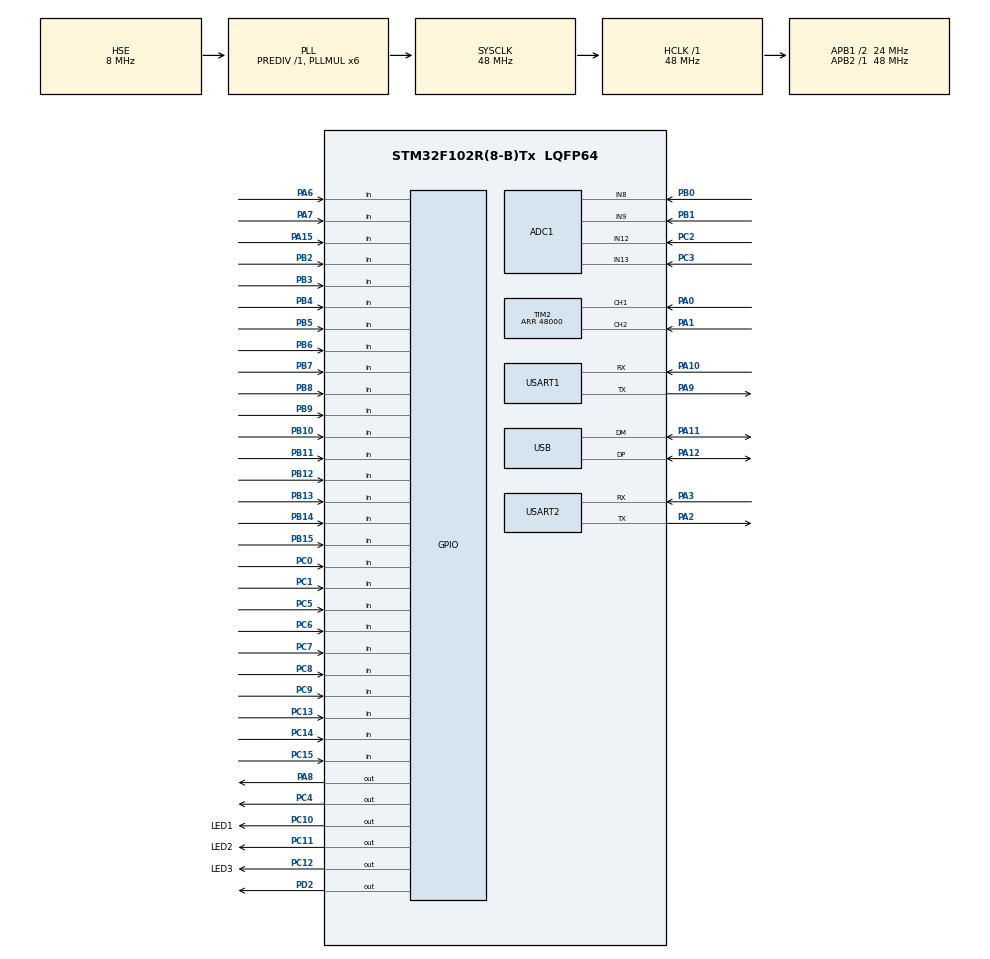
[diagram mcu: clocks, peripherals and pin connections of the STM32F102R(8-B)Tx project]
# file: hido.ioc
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ADC1.Channel-0\#ChannelRegularConversion=ADC_CHANNEL_TEMPSENSOR
ADC1.Channel-1\#ChannelInjectedConversion=ADC_CHANNEL_8
ADC1.Channel-2\#ChannelInjectedConversion=ADC_CHANNEL_9
ADC1.Channel-3\#ChannelInjectedConversion=ADC_CHANNEL_12
ADC1.Channel-4\#ChannelInjectedConversion=ADC_CHANNEL_13
ADC1.EnableInjectedConversion=ENABLE
ADC1.InjNumberOfConversion=4
ADC1.InjectedOffset-1\#ChannelInjectedConversion=0
ADC1.InjectedOffset-2\#ChannelInjectedConversion=0
ADC1.InjectedOffset-3\#ChannelInjectedConversion=0
ADC1.InjectedOffset-4\#ChannelInjectedConversion=0
ADC1.NbrOfConversionFlag=1
ADC1.Rank-0\#ChannelRegularConversion=1
ADC1.Rank-1\#ChannelInjectedConversion=1
ADC1.Rank-2\#ChannelInjectedConversion=2
ADC1.Rank-3\#ChannelInjectedConversion=3
ADC1.Rank-4\#ChannelInjectedConversion=4
ADC1.SamplingTime-0\#ChannelRegularConversion=ADC_SAMPLETIME_239CYCLES_5
ADC1.SamplingTime-1\#ChannelInjectedConversion=ADC_SAMPLETIME_1CYCLE_5
ADC1.SamplingTime-2\#ChannelInjectedConversion=ADC_SAMPLETIME_1CYCLE_5
ADC1.SamplingTime-3\#ChannelInjectedConversion=ADC_SAMPLETIME_1CYCLE_5
ADC1.SamplingTime-4\#ChannelInjectedConversion=ADC_SAMPLETIME_1CYCLE_5
ADC1.master=1
Mcu.Family=STM32F1
Mcu.Name=STM32F102R(8-B)Tx
Mcu.Package=LQFP64
NVIC.ADC1_IRQn=true\:0\:0\:false\:false\:true\:true\:true
NVIC.PriorityGroup=NVIC_PRIORITYGROUP_4
NVIC.USB_LP_IRQn=true\:0\:0\:false\:false\:true\:false\:true
PA0-WKUP.Signal=S_TIM2_CH1_ETR
PA1.Signal=S_TIM2_CH2
PA10.Mode=Asynchronous
PA10.Signal=USART1_RX
PA11.Mode=Device
PA11.Signal=USB_DM
PA12.Mode=Device
PA12.Signal=USB_DP
PA13.Mode=Serial_Wire
PA13.Signal=SYS_JTMS-SWDIO
PA14.Mode=Serial_Wire
PA14.Signal=SYS_JTCK-SWCLK
PA15.Signal=GPIO_Input
PA2.Mode=Asynchronous
PA2.Signal=USART2_TX
PA3.Mode=Asynchronous
PA3.Signal=USART2_RX
PA6.Signal=GPIO_Input
PA7.Signal=GPIO_Input
PA8.Signal=GPIO_Output
PA9.Mode=Asynchronous
PA9.Signal=USART1_TX
PB0.Signal=ADCx_IN8
PB1.Signal=ADCx_IN9
PB10.Signal=GPIO_Input
PB11.Signal=GPIO_Input
PB12.Signal=GPIO_Input
PB13.Signal=GPIO_Input
PB14.Signal=GPIO_Input
PB15.Signal=GPIO_Input
PB2.Signal=GPIO_Input
PB3.Signal=GPIO_Input
PB4.Signal=GPIO_Input
PB5.Signal=GPIO_Input
PB6.Signal=GPIO_Input
PB7.Signal=GPIO_Input
PB8.Signal=GPIO_Input
PB9.Signal=GPIO_Input
PC0.Signal=GPIO_Input
PC1.Signal=GPIO_Input
PC10.GPIO_Label=LED1
PC10.Signal=GPIO_Output
PC11.GPIO_Label=LED2
PC11.Signal=GPIO_Output
PC12.GPIO_Label=LED3
PC12.Signal=GPIO_Output
PC13-TAMPER-RTC.Signal=GPIO_Input
PC14-OSC32_IN.Signal=GPIO_Input
PC15-OSC32_OUT.Signal=GPIO_Input
PC2.Signal=ADCx_IN12
PC3.Signal=ADCx_IN13
PC4.Signal=GPIO_Output
PC5.Signal=GPIO_Input
PC6.Signal=GPIO_Input
PC7.Signal=GPIO_Input
PC8.Signal=GPIO_Input
PC9.Signal=GPIO_Input
PD0-OSC_IN.Mode=HSE-External-Oscillator
PD0-OSC_IN.Signal=RCC_OSC_IN
PD1-OSC_OUT.Mode=HSE-External-Oscillator
PD1-OSC_OUT.Signal=RCC_OSC_OUT
PD2.Signal=GPIO_Output
ProjectManager.HeapSize=0x200
ProjectManager.StackSize=0x400
ProjectManager.TargetToolchain=STM32CubeIDE
RCC.ADCPresc=RCC_ADCPCLK2_DIV4
RCC.AHBFreq_Value=48000000
RCC.APB1CLKDivider=RCC_HCLK_DIV2
RCC.APB1Freq_Value=24000000
RCC.APB1TimFreq_Value=48000000
RCC.APB2Freq_Value=48000000
RCC.HCLKFreq_Value=48000000
RCC.PLLMUL=RCC_PLL_MUL6
RCC.SYSCLKFreq_VALUE=48000000
RCC.SYSCLKSource=RCC_SYSCLKSOURCE_PLLCLK
RCC.USBFreq_Value=48000000
SH.ADCx_IN12.0=ADC1_IN12,IN12
SH.ADCx_IN13.0=ADC1_IN13,IN13
SH.ADCx_IN8.0=ADC1_IN8,IN8
SH.ADCx_IN9.0=ADC1_IN9,IN9
SH.S_TIM2_CH1_ETR.0=TIM2_CH1,Input_Capture1_from_TI1
SH.S_TIM2_CH2.0=TIM2_CH2,Input_Capture2_from_TI2
TIM2.Channel-Input_Capture1_from_TI1=TIM_CHANNEL_1
TIM2.Channel-Input_Capture2_from_TI2=TIM_CHANNEL_2
TIM2.Period=48000
TIM2.TIM_MasterOutputTrigger=TIM_TRGO_UPDATE
USART1.VirtualMode=VM_ASYNC
USART2.VirtualMode=VM_ASYNC
USB_DEVICE.CLASS_NAME_FS=HID
USB_DEVICE.LANGID_STRING=1040
USB_DEVICE.USBD_MAX_NUM_INTERFACES=4
USB_DEVICE.VirtualMode=Hid
USB_DEVICE.VirtualModeFS=Hid_FS
VP_ADC1_TempSens_Input.Mode=IN-TempSens
VP_TIM2_VS_ClockSourceINT.Mode=Internal
VP_USB_DEVICE_VS_USB_DEVICE_HID_FS.Mode=HID_FS
board=custom

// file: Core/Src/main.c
/* USER CODE BEGIN Header */
/**
  ******************************************************************************
  * @file           : main.c
  * @brief          : Main program body
  ******************************************************************************
  * @attention
  *
  * <h2><center>&copy; Copyright (c) 2020 STMicroelectronics.
  * All rights reserved.</center></h2>
  *
  * This software component is licensed by ST under BSD 3-Clause license,
  * the "License"; You may not use this file except in compliance with the
  * License. You may obtain a copy of the License at:
  *                        opensource.org/licenses/BSD-3-Clause
  *
  ******************************************************************************
  */
/* USER CODE END Header */

#include "main.h"
#include "adc.h"
#include "tim.h"
#include "usart.h"
#include "usb_device.h"
#include "gpio.h"

/* USER CODE BEGIN Includes */
#include "usbd_core.h"
#include "usbd_desc.h"
#include "usbd_hid.h"
/* USER CODE END Includes */

/* USER CODE BEGIN PD */
#define CURSOR_STEP     5
/* USER CODE END PD */

/* USER CODE BEGIN PV */
extern USBD_HandleTypeDef hUsbDeviceFS;
uint8_t HID_Buffer[4];
/* USER CODE END PV */

void SystemClock_Config(void);
/* USER CODE BEGIN PFP */
#define CLICK_REPORT_SIZE 1
uint8_t click_report[CLICK_REPORT_SIZE] = {0};
/* USER CODE END PFP */

int main(void)
{

  /* MCU Configuration--------------------------------------------------------*/

  /* Reset of all peripherals, Initializes the Flash interface and the Systick. */
  HAL_Init();

  /* Configure the system clock */
  SystemClock_Config();

  /* Initialize all configured peripherals */
  MX_GPIO_Init();
  MX_USB_DEVICE_Init();
  MX_ADC1_Init();
  MX_TIM2_Init();
  MX_USART1_UART_Init();
  MX_USART2_UART_Init();
  /* USER CODE BEGIN 2 */
  //USBD_RegisterClass(&USBD_Device, USBD_HID_CLASS);
 //USBD_Start(&USBD_Device);
  /* USER CODE END 2 */

  /* Infinite loop */
  /* USER CODE BEGIN WHILE */
  while (1)
  {
	//  HAL_Delay(100);
	//  HAL_GPIO_TogglePin(GPIOC, LED1_Pin);
	//HAL_Delay(500);
	//GetPointerData(HID_Buffer);
	//USBD_HID_SendReport(&USBD_Device, HID_Buffer, 4);
  click_report[0] = 1; // send button press
  USBD_HID_SendReport(&hUsbDeviceFS, click_report, CLICK_REPORT_SIZE);
  HAL_Delay(50);

  click_report[0] = 0; // send button release
  USBD_HID_SendReport(&hUsbDeviceFS, click_report, CLICK_REPORT_SIZE);

  HAL_Delay(200);

    /* USER CODE END WHILE */

  }
}

void SystemClock_Config(void)
{
  RCC_OscInitTypeDef RCC_OscInitStruct = {0};
  RCC_ClkInitTypeDef RCC_ClkInitStruct = {0};
  RCC_PeriphCLKInitTypeDef PeriphClkInit = {0};

  /** Initializes the CPU, AHB and APB busses clocks
  */
  RCC_OscInitStruct.OscillatorType = RCC_OSCILLATORTYPE_HSE;
  RCC_OscInitStruct.HSEState = RCC_HSE_ON;
  RCC_OscInitStruct.HSEPredivValue = RCC_HSE_PREDIV_DIV1;
  RCC_OscInitStruct.HSIState = RCC_HSI_ON;
  RCC_OscInitStruct.PLL.PLLState = RCC_PLL_ON;
  RCC_OscInitStruct.PLL.PLLSource = RCC_PLLSOURCE_HSE;
  RCC_OscInitStruct.PLL.PLLMUL = RCC_PLL_MUL6;
  if (HAL_RCC_OscConfig(&RCC_OscInitStruct) != HAL_OK)
  {
    Error_Handler();
  }
  /** Initializes the CPU, AHB and APB busses clocks
  */
  RCC_ClkInitStruct.ClockType = RCC_CLOCKTYPE_HCLK|RCC_CLOCKTYPE_SYSCLK
                              |RCC_CLOCKTYPE_PCLK1|RCC_CLOCKTYPE_PCLK2;
  RCC_ClkInitStruct.SYSCLKSource = RCC_SYSCLKSOURCE_PLLCLK;
  RCC_ClkInitStruct.AHBCLKDivider = RCC_SYSCLK_DIV1;
  RCC_ClkInitStruct.APB1CLKDivider = RCC_HCLK_DIV2;
  RCC_ClkInitStruct.APB2CLKDivider = RCC_HCLK_DIV1;

  if (HAL_RCC_ClockConfig(&RCC_ClkInitStruct, FLASH_LATENCY_1) != HAL_OK)
  {
    Error_Handler();
  }
  PeriphClkInit.PeriphClockSelection = RCC_PERIPHCLK_ADC|RCC_PERIPHCLK_USB;
  PeriphClkInit.AdcClockSelection = RCC_ADCPCLK2_DIV4;
  PeriphClkInit.UsbClockSelection = RCC_USBCLKSOURCE_PLL;
  if (HAL_RCCEx_PeriphCLKConfig(&PeriphClkInit) != HAL_OK)
  {
    Error_Handler();
  }
}

/* USER CODE BEGIN 4 */
void GetPointerData(uint8_t *pbuf)
{
  static int8_t cnt = 0;
  int8_t  x = 0, y = 0 ;

  if(cnt++ > 0)
  {
    x = CURSOR_STEP;
  }
  else
  {
    x = -CURSOR_STEP;
  }

  pbuf[0] = 0;
  pbuf[1] = x;
  pbuf[2] = y;
  pbuf[3] = 0;
}
/* USER CODE END 4 */

void Error_Handler(void)
{
}

/************************ (C) COPYRIGHT STMicroelectronics *****END OF FILE****/
